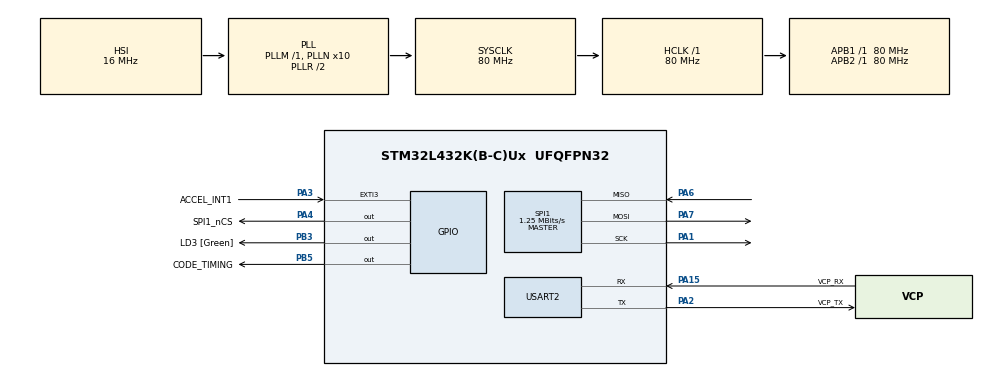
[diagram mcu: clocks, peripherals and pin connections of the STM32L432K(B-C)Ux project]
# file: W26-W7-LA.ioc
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Mcu.Family=STM32L4
Mcu.Name=STM32L432K(B-C)Ux
Mcu.Package=UFQFPN32
NVIC.EXTI3_IRQn=true\:0\:0\:false\:false\:true\:true\:true\:true
NVIC.PriorityGroup=NVIC_PRIORITYGROUP_4
NVIC.SPI1_IRQn=true\:0\:0\:false\:false\:true\:true\:true\:true
NVIC.TIM6_DAC_IRQn=true\:0\:0\:false\:false\:true\:true\:true\:true
NVIC.USART2_IRQn=true\:0\:0\:false\:false\:true\:true\:true\:true
PA0.GPIO_Label=MCO [High speed clock in]
PA0.Mode=HSE-External-Clock-Source-for-LittleOrca
PA0.Signal=RCC_CK_IN
PA1.Mode=Full_Duplex_Master
PA1.Signal=SPI1_SCK
PA13\ (JTMS-SWDIO).GPIO_Label=SWDIO
PA13\ (JTMS-SWDIO).Mode=Serial_Wire
PA13\ (JTMS-SWDIO).Signal=SYS_JTMS-SWDIO
PA14\ (JTCK-SWCLK).GPIO_Label=SWCLK
PA14\ (JTCK-SWCLK).Mode=Serial_Wire
PA14\ (JTCK-SWCLK).Signal=SYS_JTCK-SWCLK
PA15\ (JTDI).GPIO_Label=VCP_RX
PA15\ (JTDI).Mode=Asynchronous
PA15\ (JTDI).Signal=USART2_RX
PA2.GPIO_Label=VCP_TX
PA2.Mode=Asynchronous
PA2.Signal=USART2_TX
PA3.GPIO_Label=ACCEL_INT1
PA3.Signal=GPXTI3
PA4.GPIO_Label=SPI1_nCS
PA4.PinState=GPIO_PIN_SET
PA4.Signal=GPIO_Output
PA6.Mode=Full_Duplex_Master
PA6.Signal=SPI1_MISO
PA7.Mode=Full_Duplex_Master
PA7.Signal=SPI1_MOSI
PB3\ (JTDO-TRACESWO).GPIO_Label=LD3 [Green]
PB3\ (JTDO-TRACESWO).Signal=GPIO_Output
PB5.GPIO_Label=CODE_TIMING
PB5.Signal=GPIO_Output
PC14-OSC32_IN\ (PC14).Mode=LSE-External-Oscillator
PC14-OSC32_IN\ (PC14).Signal=RCC_OSC32_IN
PC15-OSC32_OUT\ (PC15).Mode=LSE-External-Oscillator
PC15-OSC32_OUT\ (PC15).Signal=RCC_OSC32_OUT
ProjectManager.HeapSize=0x0
ProjectManager.StackSize=0x400
ProjectManager.TargetToolchain=Makefile
RCC.ADCFreq_Value=64000000
RCC.AHBFreq_Value=80000000
RCC.APB1Freq_Value=80000000
RCC.APB1TimFreq_Value=80000000
RCC.APB2Freq_Value=80000000
RCC.APB2TimFreq_Value=80000000
RCC.CortexFreq_Value=80000000
RCC.HCLKFreq_Value=80000000
RCC.HSE_VALUE=8000000
RCC.HSI16_VALUE=16000000
RCC.HSI48_VALUE=48000000
RCC.HSI_VALUE=16000000
RCC.MSI_VALUE=4000000
RCC.PLLMUL=RCC_PLLMUL_4
RCC.PLLN=10
RCC.PLLSourceVirtual=RCC_PLLSOURCE_HSI
RCC.SYSCLKFreq_VALUE=80000000
RCC.SYSCLKSource=RCC_SYSCLKSOURCE_PLLCLK
RCC.USBFreq_Value=64000000
RCC.VCOOutputFreq_Value=160000000
SPI1.BaudRatePrescaler=SPI_BAUDRATEPRESCALER_64
SPI1.CLKPhase=SPI_PHASE_2EDGE
SPI1.CLKPolarity=SPI_POLARITY_HIGH
SPI1.CalculateBaudRate=1.25 MBits/s
SPI1.DataSize=SPI_DATASIZE_16BIT
SPI1.Direction=SPI_DIRECTION_2LINES
SPI1.Mode=SPI_MODE_MASTER
SPI1.VirtualType=VM_MASTER
STMicroelectronics.X-CUBE-AI.10.2.0.ActivationBufferSizeList=5316
STMicroelectronics.X-CUBE-AI.10.2.0.ActivationBuffers=pool0
STMicroelectronics.X-CUBE-AI.10.2.0.ActivationNames=pool0
STMicroelectronics.X-CUBE-AI.10.2.0.ActivationSizes=AI_NETWORK_DATA_ACTIVATION_1_SIZE
STMicroelectronics.X-CUBE-AI.10.2.0.HeapSize=0x800
STMicroelectronics.X-CUBE-AI.10.2.0.InternalRamActivationBufferMaxSize=AI_NETWORK_DATA_ACTIVATIONS_SIZE
STMicroelectronics.X-CUBE-AI.10.2.0.LatestDirectoryUsed-857cf1328584f569595a8b4496305966d25a016f31fca8246bc57e00cf5fe82e=C\:\\Users\\brand\\Documents\\ENGS-62-Workspace\\W26-W7-PA
STMicroelectronics.X-CUBE-AI.10.2.0.MaximumNumberOfInputLayer=1
STMicroelectronics.X-CUBE-AI.10.2.0.MaximumNumberOfOutputLayer=1
STMicroelectronics.X-CUBE-AI.10.2.0.MaximumSizeOfInputLayer=1
STMicroelectronics.X-CUBE-AI.10.2.0.MaximumSizeOfOutputLayer=1
STMicroelectronics.X-CUBE-AI.10.2.0.ModelActualCompression-857cf1328584f569595a8b4496305966d25a016f31fca8246bc57e00cf5fe82e=0.0
STMicroelectronics.X-CUBE-AI.10.2.0.ModelCompression-857cf1328584f569595a8b4496305966d25a016f31fca8246bc57e00cf5fe82e=None
STMicroelectronics.X-CUBE-AI.10.2.0.ModelFlashOccupation-857cf1328584f569595a8b4496305966d25a016f31fca8246bc57e00cf5fe82e=62308
STMicroelectronics.X-CUBE-AI.10.2.0.ModelHashList=857cf1328584f569595a8b4496305966d25a016f31fca8246bc57e00cf5fe82e
STMicroelectronics.X-CUBE-AI.10.2.0.ModelKind-857cf1328584f569595a8b4496305966d25a016f31fca8246bc57e00cf5fe82e=TFLITE
STMicroelectronics.X-CUBE-AI.10.2.0.ModelMacc-857cf1328584f569595a8b4496305966d25a016f31fca8246bc57e00cf5fe82e=24200
STMicroelectronics.X-CUBE-AI.10.2.0.ModelName-857cf1328584f569595a8b4496305966d25a016f31fca8246bc57e00cf5fe82e=network
STMicroelectronics.X-CUBE-AI.10.2.0.ModelNameList=network
STMicroelectronics.X-CUBE-AI.10.2.0.ModelRamOccupation-857cf1328584f569595a8b4496305966d25a016f31fca8246bc57e00cf5fe82e=5316
STMicroelectronics.X-CUBE-AI.10.2.0.ModelStructureFile-857cf1328584f569595a8b4496305966d25a016f31fca8246bc57e00cf5fe82e=C\:\\Users\\brand\\Documents\\ENGS-62-Workspace\\W26-W7-PA\\model.tflite
STMicroelectronics.X-CUBE-AI.10.2.0.ModelType-857cf1328584f569595a8b4496305966d25a016f31fca8246bc57e00cf5fe82e=STM32Cube.AI MCU runtime
STMicroelectronics.X-CUBE-AI.10.2.0.ReadyForCodeGeneration=true
STMicroelectronics.X-CUBE-AI.10.2.0.StackSize=0x800
STMicroelectronics.X-CUBE-AI.10.2.0.WorkingBufferStartAddrList=0xFFFFFFFF
STMicroelectronics.X-CUBE-AI.10.2.0.XAaCUBEAaAICcArtificialOoIntelligenceJjCore=true
STMicroelectronics.X-CUBE-AI.10.2.0.copyWeightToRam=false
STMicroelectronics.X-CUBE-AI.10.2.0.copyWeightToRam-857cf1328584f569595a8b4496305966d25a016f31fca8246bc57e00cf5fe82e=false
STMicroelectronics.X-CUBE-AI.10.2.0.customLayerConfigEnabled=false
STMicroelectronics.X-CUBE-AI.10.2.0.customLayerConfigEnabled-857cf1328584f569595a8b4496305966d25a016f31fca8246bc57e00cf5fe82e=false
STMicroelectronics.X-CUBE-AI.10.2.0.noOnnxIoTranspose=false
STMicroelectronics.X-CUBE-AI.10.2.0.noOnnxIoTranspose-857cf1328584f569595a8b4496305966d25a016f31fca8246bc57e00cf5fe82e=false
STMicroelectronics.X-CUBE-AI.10.2.0.useInputAllocation=true
STMicroelectronics.X-CUBE-AI.10.2.0.useInputAllocation-857cf1328584f569595a8b4496305966d25a016f31fca8246bc57e00cf5fe82e=true
STMicroelectronics.X-CUBE-AI.10.2.0.useOutputAllocation=true
STMicroelectronics.X-CUBE-AI.10.2.0.useOutputAllocation-857cf1328584f569595a8b4496305966d25a016f31fca8246bc57e00cf5fe82e=true
TIM6.AutoReloadPreload=TIM_AUTORELOAD_PRELOAD_ENABLE
TIM6.Period=5000
TIM6.Prescaler=8000
USART2.VirtualMode-Asynchronous=VM_ASYNC
VP_STMicroelectronics.X-CUBE-AI_VS_ArtificialOoIntelligenceJjXAaCUBEAaAI_10.2.0.Mode=ArtificialOoIntelligenceJjXAaCUBEAaAI
VP_TIM6_VS_ClockSourceINT.Mode=Enable_Timer
board=NUCLEO-L432KC

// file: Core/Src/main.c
/* USER CODE BEGIN Header */
/**
  ******************************************************************************
  * @file           : main.c
  * @brief          : Main program body
  ******************************************************************************
  * @attention
  *
  * Copyright (c) 2026 STMicroelectronics.
  * All rights reserved.
  *
  * This software is licensed under terms that can be found in the LICENSE file
  * in the root directory of this software component.
  * If no LICENSE file comes with this software, it is provided AS-IS.
  *
  ******************************************************************************
  */
/* USER CODE END Header */
#include "main.h"
#include "spi.h"
#include "tim.h"
#include "usart.h"
#include "gpio.h"

/* USER CODE BEGIN Includes */
#include "stm32l4xx_hal.h" // so VSCode syntax checking can find HAL definitions

#include <stdbool.h>
#include <stdio.h>
#include <stdint.h>

// AI model
#include "ai_platform.h"
#include "network.h"
#include "network_data.h"
/* USER CODE END Includes */

/* USER CODE BEGIN PD */

// The number of accelerometer channels and samples per channel to collect for inference.
#define INFERENCE_ACCEL_CHANNELS 3 // X, Y, Z
#define INFERENCE_SAMPLES_PER_CHANNEL 26 // Number of samples to collect per channel for inference

// In this lab, inference input data is expected to be in units of 1/4 g based on the data scale
// factor used in training (see W27-W6-PA).
// Raw values returned by the accelerometer are in units of milli-gravities, so divide by 4000 to
// convert raw values into the value ranges expected for inference.
#define INFERENCE_ACCEL_RAW_DATA_DIVISOR (4000.0)  // divide milli-gravities by 4000 to pre-process

// See the LIS3DH datasheet for more details on these register addresses and settings:
// Read/Write Bit
#define LIS3DH_READ 0x80
#define LIS3DH_WRITE 0x00
#define LIS3DH_READ_TXFR (true) // cleans up function calls to accel_txfr
#define LIS3DH_WRITE_TXFR (false)
// Register Addresses
#define LIS3DH_WHOAMI_REG 0x0F
#define LIS3DH_CTRL_REG1 0x20
#define LIS3DH_CTRL_REG3 0x22
#define LIS3DH_CTRL_REG4 0x23
#define LIS3DH_STATUS_REG 0x27
#define LIS3DH_OUT_X_L 0x28 // Output registers for X, Y, and Z acceleration data (6 bytes total)
#define LIS3DH_OUT_X_H 0x29
#define LIS3DH_OUT_Y_L 0x2A
#define LIS3DH_OUT_Y_H 0x2B
#define LIS3DH_OUT_Z_L 0x2C
#define LIS3DH_OUT_Z_H 0x2D
// Register Values
#define LIS3DH_WHOAMI_REG_VAL 0x33 // Expected value in WHO_AM_I register for LIS3DH
#define LIS3DH_CTRL_REG1_25HZ 0x37 // 25 Hz data rate, all axes enabled
#define LIS3DH_CTRL_REG3_INT1_ZYXDA 0x10 // Enable interrupt on INT1 pin when new ZYX data is available
#define LIS3DH_CTRL_REG4_HR 0x08 // High resolution mode enabled

/* USER CODE END PD */

/* USER CODE BEGIN PV */
// Set by the USART2 Rx Complete callback when a byte is received,
// used in the EXTI callback to determine when to read data and run inference.
static volatile bool sample_data = false;

// Set by the EXTI callback function when a buffer of accelerometer data is ready for inference,
// used in the main loop to determine when to run inference on the collected data.
static volatile bool data_ready_for_inference = false;

// Buffer to hold data received from accelerometer for inference
// static int16_t accel_raw_data_buffer[INFERENCE_ACCEL_CHANNELS * INFERENCE_SAMPLES_PER_CHANNEL]; // Original Line from Checkpoints 1 & 2

// Double buffer for data collection: 2 rows each holding a full inference batch
static volatile int16_t accel_raw_data_buffer[2][INFERENCE_ACCEL_CHANNELS * INFERENCE_SAMPLES_PER_CHANNEL];

// Tracks which buffer the EXTI interrupt is currently filling (0 or 1)
static volatile uint8_t current_fill_buffer = 0;

// Tracks which buffer is full and ready for the main to process (reserve -1 for neither)
static volatile int8_t buffer_ready_for_inference = -1;

// Used by the inference code:
static ai_handle network;                                    // Pointer to the AI network instance
static float aiInData[AI_NETWORK_IN_1_SIZE];                 // Input data for inference - will hold the pre-processed accelerometer data
static float aiOutData[AI_NETWORK_OUT_1_SIZE];               // Output data from inference - will hold the inference results
static ai_u8 activations[AI_NETWORK_DATA_ACTIVATIONS_SIZE];  // Buffer to hold the activations used internally by the AI network during inference
// Labels for the output classes of the AI model - used for printing inference results.  Update as needed based on your specific model.
static const char* activities[AI_NETWORK_OUT_1_SIZE] = {
  "stationary",
  "walking",
  "running",
  "spinning"
};
// Pointers to the input and output buffers used for AI inference - these are passed to the ai_run function
static ai_buffer *ai_input;
static ai_buffer *ai_output;

/* USER CODE END PV */

void SystemClock_Config(void);
/* USER CODE BEGIN PFP */

// Perform a SPI transfer to the LIS3DH accelerometer using manual GPIO control of the CS pin
// reg: accel register to read/write (7 bits)
// write: data to write to register, if writing.  Ignored if performing a read operation.
// is_read: set to true to perform a read operation, false for write operation
// returns the value read from the accelerometer, or 0 if performing a write operation
static uint8_t accel_txfr(const uint8_t reg, const uint8_t write, const bool is_read);

// Read the X, Y, and Z acceleration data from the LIS3DH accelerometer and store in the provided pointers
// x, y, z: pointers to int16_t variables where the read acceleration data will be stored.
// Returns signed 16-bit integers in units of milli-gravities
static void accel_read(int16_t *x, int16_t *y, int16_t *z);

// Initialize the inference engine
static void AI_Init(void);

// Perform inference on input data, generate predicted class probabilities in the output buffer
static void AI_Run(float *pIn, float *pOut);

// Utility function to find the index of the maximum value in an array - used for determining the predicted class
// from the output probabilities of the AI model
static uint32_t argmax(const float *values, uint32_t len);

/* USER CODE END PFP */

/* USER CODE BEGIN 0 */
// Generic HAL timer callback function
void HAL_TIM_PeriodElapsedCallback(TIM_HandleTypeDef *htim) {
  // Toggle the LED connected to PB3 every time the TIM6 timer period elapses
  if (htim->Instance == TIM6) {
    HAL_GPIO_TogglePin(GPIOB, GPIO_PIN_3);
  }
}

/* Retarget printf to use USART2 for character output */
int __io_putchar(int data)
{
  // Send one byte at a time, using the maximum timeout delay possible
  HAL_UART_Transmit(&huart2, (uint8_t *)&data, 1, HAL_MAX_DELAY);
  return data;
}

// Handle UART Rx Complete interrupt - triggered when a byte is received over USART2
// This is used by the template code to start collecting a buffer of data for inference.
// Inference is run one time per key press.  Note this is not well-defended code in that
// multiple key-presses within the data collection window will restart data collection
// which may cause unexpected behavior.  This is template code only, to be removed when
// you convert this project to continuously collect data and run inference without
// waiting for user input.
void HAL_UART_RxCpltCallback(UART_HandleTypeDef *huart)
{
    if(huart->Instance == USART2) // Check if the interrupt is from the correct UART instance
    {
      printf("Collecting Data for Inference...\r\n");
      // Set a flag to indicate to EXTI callback that it should fill a buffer of data for inference
      sample_data = true;
    }
}

// Handle EXTI interrupts on GPIO pins
void HAL_GPIO_EXTI_Callback(uint16_t GPIO_Pin)
{
  static uint8_t accel_sample_count = 0; // Keep track of how many samples have been collected for inference
  // static bool collecting_data = false; // Flag to indicate whether we are currently collecting data for inference
  // PORT A Pin #3?
  if (GPIO_Pin == GPIO_PIN_3) {
    // Read the latest accelerometer data
      int16_t x, y, z;
      accel_read(&x, &y, &z);

    // Check if we should start collecting data for inference (set by USART Rx callback)
    // Checkpoint 2 Logic
    // if(sample_data) {
    //   accel_sample_count = 0; // Reset sample count
    //   collecting_data = true; // Start collecting data for inference
    //   sample_data = false; // Reset flag set by USART Rx callback until the next key press
    // }
    // if( collecting_data ) {
    //   // Store the read data in the buffer for inference, converting to float and applying any necessary scaling (not applied here since it depends on the specific LIS3DH configuration settings you choose)
    //   accel_raw_data_buffer[accel_sample_count * INFERENCE_ACCEL_CHANNELS + 0] = x;
    //   accel_raw_data_buffer[accel_sample_count * INFERENCE_ACCEL_CHANNELS + 1] = y;
    //   accel_raw_data_buffer[accel_sample_count * INFERENCE_ACCEL_CHANNELS + 2] = z;
    //   printf("%5d, %5d, %5d\r\n", x, y, z); // Print the raw data values for debugging
    //   accel_sample_count++; // Increment sample count
    //   // Check if we have collected enough samples for inference
    //   if( accel_sample_count >= INFERENCE_SAMPLES_PER_CHANNEL ) {
    //     data_ready_for_inference = true; // Set flag to indicate to main loop that data is ready for inference
    //     collecting_data = false; // Stop collecting data until the next trigger from USART Rx callback

    //   }
    // }
    // Checkpoint 3 Logic:
    // Continuously store data in the current active buffer
    accel_raw_data_buffer[current_fill_buffer][accel_sample_count * INFERENCE_ACCEL_CHANNELS + 0] = x;
    accel_raw_data_buffer[current_fill_buffer][accel_sample_count * INFERENCE_ACCEL_CHANNELS + 1] = y;
    accel_raw_data_buffer[current_fill_buffer][accel_sample_count * INFERENCE_ACCEL_CHANNELS + 2] = z;

    accel_sample_count++;

    // Check if the current buffer is full (26 samples)
    if(accel_sample_count >= INFERENCE_SAMPLES_PER_CHANNEL) {
      // 1. Signal main() that this buffer is ready for inference
      buffer_ready_for_inference = current_fill_buffer;

      // 2. Switch the active fill buffer (toggle between 0 and 1)
      current_fill_buffer = 1 - current_fill_buffer;

      // 3. Reset sample count tot start filling the new buffer from the beginning
      accel_sample_count = 0;
    }
  }
}

// Perform a SPI transfer to the LIS3DH accelerometer using manual GPIO control of the CS pin
// Use the GPIOA Pin #4 as the CS pin (active low) and the SPI1 peripheral for communication
// reg: accel register to read/write (7 bits)
// write: data to write to register, if writing.  Ignored if performing a read operation.
// is_read: set to true to perform a read operation, false for write operation
// returns the value read from the accelerometer, or 0 if performing a write operation
static uint8_t accel_txfr(const uint8_t reg, const uint8_t write, const bool is_read) {
  // Set up transfer data values
  uint16_t rx_data; // return value from SPI transfer, if relevant
  // Upper byte is the register address with R/W bit, lower byte is the data to write (ignored for reads)
  uint16_t tx_data = ((reg & 0x7f) << 8) | (write & 0x00ff);
  if( is_read ) {
    tx_data |= (LIS3DH_READ << 8); // Set the R/W bit for read operations
  }; // if write, LSB is 0 so no need to modify tx_data further

  // Assert CS pin (active low)
  HAL_GPIO_WritePin(GPIOA, GPIO_PIN_4, GPIO_PIN_RESET);
  // HAL API expects pointer to uint8_t, but configured for 16-bit transfers, so cast the
  // pointer appropriately.  Also, only transfer 1 "unit" of data, which is 16 bits in this configuration.
  // Use the MAX_DELAY timeout to block indefinitely until the transfer is complete.
  HAL_SPI_TransmitReceive(&hspi1, (uint8_t*)&tx_data, (uint8_t *)&rx_data, 1, HAL_MAX_DELAY);
  // Deassert CS pin
  HAL_GPIO_WritePin(GPIOA, GPIO_PIN_4, GPIO_PIN_SET);

  // Mask off the upper byte, since the LIS3DH only returns 8 bits of data per transfer, even in 16-bit mode
  // (not strictly required due to casting to uint8_t, but good for clarity)
  return (uint8_t)(rx_data&0x00ff);
}

// Initialize the LIS3HD accelerometer
// (1) Check WHO_AM_I for valid response
// (2) Configure for high resolution mode, 25 Hz sampling
// (3) Generate interrupts when new ZYX data is available
void accel_init(void) {
  uint8_t who_am_i = accel_txfr(LIS3DH_WHOAMI_REG, 0x00, LIS3DH_READ_TXFR);
  if(who_am_i != LIS3DH_WHOAMI_REG_VAL) {
    printf("Failed to detect LIS3DH accelerometer. WHOAMI register returned: 0x%02X\r\n", who_am_i);
    while(1); // Halt execution if the accelerometer is not detected
  } else {
    printf("LIS3DH accelerometer detected successfully!  Configuring...\r\n");
    accel_txfr(LIS3DH_CTRL_REG1, LIS3DH_CTRL_REG1_25HZ, LIS3DH_WRITE_TXFR); // 25 Hz data rate, all axes enabled
    accel_txfr(LIS3DH_CTRL_REG4, LIS3DH_CTRL_REG4_HR, LIS3DH_WRITE_TXFR); // High resolution mode enabled
    accel_txfr(LIS3DH_CTRL_REG3, LIS3DH_CTRL_REG3_INT1_ZYXDA, LIS3DH_WRITE_TXFR); // Enable interrupt on INT1 pin when new ZYX data is available
    printf("LIS3DH accelerometer configured successfully!\r\n");

    // Check if there is already data available (in case new data interrupt was triggered before we configured the accelerometer)
    // Flush any data waiting to be read - de-asserts interrupt pin if it is triggered
    if( HAL_GPIO_ReadPin(GPIOA, GPIO_PIN_3) == GPIO_PIN_SET) {
      int16_t dummy;
      accel_read(&dummy, &dummy, &dummy); // Read and discard the available data to flush the accelerometer's output registers
    }
  }
}

// Read the X, Y, and Z acceleration data from the LIS3DH accelerometer and store in the provided pointers
// x, y, z: pointers to int16_t variables where the read acceleration data will be stored.
// The LIS3DH outputs 16 bits of data for each axis, with the lower 8 bits in the _L register and the
// upper 8 bits in the _H register.
void accel_read(int16_t *x, int16_t *y, int16_t *z) {
  // Register list to read
  uint8_t read_regs[6] = {
    LIS3DH_OUT_X_L,
    LIS3DH_OUT_X_H,
    LIS3DH_OUT_Y_L,
    LIS3DH_OUT_Y_H,
    LIS3DH_OUT_Z_L,
    LIS3DH_OUT_Z_H
  };
  // Return values - use uint16_t to support bit-manipulations before converting to final signed 12-bit values
  uint16_t data[6];
  // Read the 6 acceleration data registers in a loop using accel_txfr.
  for( int i = 0; i < 6; i++) {
    data[i] = accel_txfr(read_regs[i], 0x00, LIS3DH_READ_TXFR);
  }
  // Pack signed 12-bit values into 12 MSBs of 16-bit integers
  *x = ((data[1]&0x00FF) << 8) | (data[0] & 0x00FF); // Combine high and low bytes for X-axis
  *y = ((data[3]&0x00FF) << 8) | (data[2] & 0x00FF); // Combine high and low bytes for Y-axis
  *z = ((data[5]&0x00FF) << 8) | (data[4] & 0x00FF); // Combine high and low bytes for Z-axis
  // Now sign extend and shift right by 4 to get the final signed 12-bit values
  *x = (*x >> 4); // Shift right by 4 to discard unused bits
  *y = (*y >> 4); // Shift right by 4 to discard unused bits
  *z = (*z >> 4); // Shift right by 4 to discard unused bits
}

// Initialize the inference engine (based on the tensorflow-lite model initialization code generated by X-CUBE-AI)
static void AI_Init(void)
{
  ai_error err;

  /* Create a local array with the addresses of the activations buffers */
  const ai_handle act_addr[] = { activations };

  /* Create an instance of the model */
  err = ai_network_create_and_init(&network, act_addr, NULL);
  if (err.type != AI_ERROR_NONE) {
    printf("ai_network_create error - type=%d code=%d\r\n", err.type, err.code);
    Error_Handler();
  }

  /* Retrieve pointers to the model's input and output tensors */
  ai_input = ai_network_inputs_get(network, NULL);
  ai_output = ai_network_outputs_get(network, NULL);
}

// Run inference on input data, generate predicted class probabilities in the output buffer
static void AI_Run(float *pIn, float *pOut)
{
  ai_i32 batch;
  ai_error err;

  /* Update IO handlers with the data payload */
  ai_input[0].data = AI_HANDLE_PTR(pIn);
  ai_output[0].data = AI_HANDLE_PTR(pOut);

  // Call the network run function generated by X-CUBE-AI to perform inference.
  // The function will return the number of batches processed, which should be 1 in this case since we are only
  // unning inference on one input at a time.  If the return value is not 1, then an error occurred during inference
  // and we can retrieve details about the error using ai_network_get_error.
  batch = ai_network_run(network, ai_input, ai_output);
  if (batch != 1) {
    err = ai_network_get_error(network);
    printf("AI ai_network_run error - type=%d code=%d\r\n", err.type, err.code);
    Error_Handler();
  }
}

// Utility function to find the index of the maximum value in an array - used for determining the predicted class
// from the output probabilities of the AI model
// values: pointer to the array of float values to search through
// len: length of the array
// returns the index of the maximum value in the array
static uint32_t argmax(const float * values, uint32_t len)
{
  float max_value = values[0];
  uint32_t max_index = 0;
  for (uint32_t i = 1; i < len; i++) {
    if (values[i] > max_value) {
      max_value = values[i];
      max_index = i;
    }
  }
  return max_index;
}

/* USER CODE END 0 */

int main(void)
{

  /* USER CODE BEGIN 1 */
  uint8_t rx_byte; // variable to hold received byte from UART interrupt
  /* USER CODE END 1 */

  /* MCU Configuration--------------------------------------------------------*/

  /* Reset of all peripherals, Initializes the Flash interface and the Systick. */
  HAL_Init();

  /* Configure the system clock */
  SystemClock_Config();

  /* Initialize all configured peripherals */
  MX_GPIO_Init();
  MX_USART2_UART_Init();
  MX_SPI1_Init();
  MX_TIM6_Init();
  /* USER CODE BEGIN 2 */

  // 1. DIRECT HARDWARE TEST: Bypass printf entirely. Some debugging statements when I was having trouble getting information to display on the serial terminal after I regenereated my code again after the initial generation because of new model.
  // char test_msg[] = "\r\n--- UART HARDWARE ALIVE ---\r\n";
  // HAL_UART_Transmit(&huart2, (uint8_t*)test_msg, 31, HAL_MAX_DELAY);

  // Print a startup message to know the program is running
  printf("Lab 7: Human Motion Classification with a Neural Network\r\n");

  // Force printf to flush immediately (if it didn't fail from memory)
  fflush(stdout);

  // Initialize the AI inference engine - do this early, before anything tries
  // to access the AI input and output buffers, since the initialization function
  // sets up the necessary pointers and structures for inference to work correctly.
  AI_Init();

  // Start the Timer6 timer in interrupt mode
  HAL_TIM_Base_Start_IT(&htim6);

  // Initialize the accelerometer (LIS3DH)
  accel_init();

  // Template code: wait for a user keypress to fill a buffer of data and run inference on it using a neural network.
  // Note this does not permanently enable the UART Rx interrupt - it only enables it once at the beginning and then
  // again after inference is run, so inference will only be triggered once per key press.
  // You will remove this when you convert the code to continuously collect data and run inference
  // HAL_UART_Receive_IT(&huart2, (uint8_t*)&rx_byte, 1); // Start UART reception in interrupt mode.

  /* USER CODE END 2 */

  /* Infinite loop */
  while (1)
  {
    if(buffer_ready_for_inference != -1){
      HAL_GPIO_WritePin(GPIOB, GPIO_PIN_5, GPIO_PIN_SET);
      // Get the index of the ready buffer and reset the flag so we don't process it twice
      int process_buf = buffer_ready_for_inference;
      buffer_ready_for_inference = -1;

      // Scale raw data from the READY buffer and convert to float for inference
      for(int i = 0; i < INFERENCE_ACCEL_CHANNELS * INFERENCE_SAMPLES_PER_CHANNEL; i++){
        aiInData[i] = (float)accel_raw_data_buffer[process_buf][i] / INFERENCE_ACCEL_RAW_DATA_DIVISOR;
      }

      // Run the AI inference on scaled input data
      AI_Run(aiInData, aiOutData);

      // Print the predicted probability for each class
        printf("Inference Results: ");
        for( int i = 0; i < AI_NETWORK_OUT_1_SIZE; i++ ) {
          printf("%s: %.3f ", activities[i], aiOutData[i]);
        }
        printf("\r\n");

        // Find the index of the maximum output value
        int predicted_class = argmax(aiOutData, AI_NETWORK_OUT_1_SIZE);

        // Print the predicted class
        printf("Predicted class: %d (%s)\r\n\n", predicted_class, activities[predicted_class]);

        HAL_GPIO_WritePin(GPIOB, GPIO_PIN_5, GPIO_PIN_RESET);
    }
  }
}

void SystemClock_Config(void)
{
  RCC_OscInitTypeDef RCC_OscInitStruct = {0};
  RCC_ClkInitTypeDef RCC_ClkInitStruct = {0};

  /** Configure the main internal regulator output voltage
  */
  if (HAL_PWREx_ControlVoltageScaling(PWR_REGULATOR_VOLTAGE_SCALE1) != HAL_OK)
  {
    Error_Handler();
  }

  /** Initializes the RCC Oscillators according to the specified parameters
  * in the RCC_OscInitTypeDef structure.
  */
  RCC_OscInitStruct.OscillatorType = RCC_OSCILLATORTYPE_HSI;
  RCC_OscInitStruct.HSIState = RCC_HSI_ON;
  RCC_OscInitStruct.HSICalibrationValue = RCC_HSICALIBRATION_DEFAULT;
  RCC_OscInitStruct.PLL.PLLState = RCC_PLL_ON;
  RCC_OscInitStruct.PLL.PLLSource = RCC_PLLSOURCE_HSI;
  RCC_OscInitStruct.PLL.PLLM = 1;
  RCC_OscInitStruct.PLL.PLLN = 10;
  RCC_OscInitStruct.PLL.PLLP = RCC_PLLP_DIV7;
  RCC_OscInitStruct.PLL.PLLQ = RCC_PLLQ_DIV2;
  RCC_OscInitStruct.PLL.PLLR = RCC_PLLR_DIV2;
  if (HAL_RCC_OscConfig(&RCC_OscInitStruct) != HAL_OK)
  {
    Error_Handler();
  }

  /** Initializes the CPU, AHB and APB buses clocks
  */
  RCC_ClkInitStruct.ClockType = RCC_CLOCKTYPE_HCLK|RCC_CLOCKTYPE_SYSCLK
                              |RCC_CLOCKTYPE_PCLK1|RCC_CLOCKTYPE_PCLK2;
  RCC_ClkInitStruct.SYSCLKSource = RCC_SYSCLKSOURCE_PLLCLK;
  RCC_ClkInitStruct.AHBCLKDivider = RCC_SYSCLK_DIV1;
  RCC_ClkInitStruct.APB1CLKDivider = RCC_HCLK_DIV1;
  RCC_ClkInitStruct.APB2CLKDivider = RCC_HCLK_DIV1;

  if (HAL_RCC_ClockConfig(&RCC_ClkInitStruct, FLASH_LATENCY_4) != HAL_OK)
  {
    Error_Handler();
  }
}

/* USER CODE BEGIN 4 */
// Needed to add this because I had to retrain the model after initial code generation and printf was having some problems. From AI.
int _write(int file, char *ptr, int len) {
    HAL_UART_Transmit(&huart2, (uint8_t*)ptr, len, HAL_MAX_DELAY);
    return len;
}
/* USER CODE END 4 */

void Error_Handler(void)
{
  __disable_irq();
  while (1)
  {
  }
}
